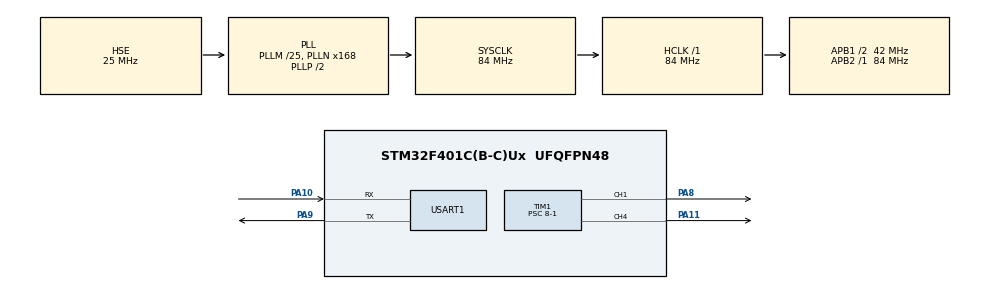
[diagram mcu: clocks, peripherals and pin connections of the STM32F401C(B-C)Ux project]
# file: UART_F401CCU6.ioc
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Mcu.Family=STM32F4
Mcu.Name=STM32F401C(B-C)Ux
Mcu.Package=UFQFPN48
NVIC.PriorityGroup=NVIC_PRIORITYGROUP_4
PA10.Mode=Asynchronous
PA10.Signal=USART1_RX
PA11.Signal=S_TIM1_CH4
PA13.Mode=Serial_Wire
PA13.Signal=SYS_JTMS-SWDIO
PA14.Mode=Serial_Wire
PA14.Signal=SYS_JTCK-SWCLK
PA8.Signal=S_TIM1_CH1
PA9.Mode=Asynchronous
PA9.Signal=USART1_TX
PH0\ -\ OSC_IN.Mode=HSE-External-Oscillator
PH0\ -\ OSC_IN.Signal=RCC_OSC_IN
PH1\ -\ OSC_OUT.Mode=HSE-External-Oscillator
PH1\ -\ OSC_OUT.Signal=RCC_OSC_OUT
ProjectManager.HeapSize=0x200
ProjectManager.StackSize=0x400
ProjectManager.TargetToolchain=MDK-ARM V5.32
RCC.48MHZClocksFreq_Value=42000000
RCC.AHBFreq_Value=84000000
RCC.APB1CLKDivider=RCC_HCLK_DIV2
RCC.APB1Freq_Value=42000000
RCC.APB1TimFreq_Value=84000000
RCC.APB2Freq_Value=84000000
RCC.APB2TimFreq_Value=84000000
RCC.CortexFreq_Value=84000000
RCC.HCLKFreq_Value=84000000
RCC.HSE_VALUE=25000000
RCC.HSI_VALUE=16000000
RCC.LSE_VALUE=32768
RCC.PLLM=25
RCC.PLLN=168
RCC.PLLSourceVirtual=RCC_PLLSOURCE_HSE
RCC.SYSCLKFreq_VALUE=84000000
RCC.SYSCLKSource=RCC_SYSCLKSOURCE_PLLCLK
RCC.VCOOutputFreq_Value=168000000
SH.S_TIM1_CH1.0=TIM1_CH1,PWM Generation1 CH1
SH.S_TIM1_CH4.0=TIM1_CH4,PWM Generation4 CH4
TIM1.Channel-PWM\ Generation1\ CH1=TIM_CHANNEL_1
TIM1.Channel-PWM\ Generation4\ CH4=TIM_CHANNEL_4
TIM1.Period=1000-1
TIM1.Prescaler=8-1
USART1.VirtualMode=VM_ASYNC
VP_TIM1_VS_ClockSourceINT.Mode=Internal
board=custom

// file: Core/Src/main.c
/* USER CODE BEGIN Header */
/**
  ******************************************************************************
  * @file           : main.c
  * @brief          : Main program body
  ******************************************************************************
  * @attention
  *
  * Copyright (c) 2024 STMicroelectronics.
  * All rights reserved.
  *
  * This software is licensed under terms that can be found in the LICENSE file
  * in the root directory of this software component.
  * If no LICENSE file comes with this software, it is provided AS-IS.
  *
  ******************************************************************************
  */
/* USER CODE END Header */
#include "main.h"

/* USER CODE BEGIN Includes */

uint8_t data[8];
uint16_t adc = 0;
uint16_t pwm = 0;

volatile uint8_t value[3];

/* USER CODE END Includes */

/* USER CODE BEGIN PD */
#define DEVISION 4.096
/* USER CODE END PD */

TIM_HandleTypeDef htim1;

UART_HandleTypeDef huart1;

void SystemClock_Config(void);
static void MX_GPIO_Init(void);
static void MX_TIM1_Init(void);
static void MX_USART1_UART_Init(void);

int main(void)
{

  /* MCU Configuration--------------------------------------------------------*/

  /* Reset of all peripherals, Initializes the Flash interface and the Systick. */
  HAL_Init();

  /* Configure the system clock */
  SystemClock_Config();

  /* Initialize all configured peripherals */
  MX_GPIO_Init();
  MX_TIM1_Init();
  MX_USART1_UART_Init();
  /* USER CODE BEGIN 2 */

	HAL_TIM_PWM_Start(&htim1, TIM_CHANNEL_1);
	HAL_TIM_PWM_Start(&htim1, TIM_CHANNEL_4);

	//HAL_UART_Receive_DMA(&huart1, (uint8_t*)value, 3);

  /* USER CODE END 2 */

  /* Infinite loop */
  /* USER CODE BEGIN WHILE */
  while (1)
  {

		HAL_UART_Receive( &huart1, data, 2, 100 );
		if(data[0] == 1)
		{
			adc = ((uint16_t)data[1] << 8) | ((uint8_t)data[2]);
			pwm = adc / DEVISION;
			TIM1->CCR1 = pwm;
			data[0] = 0;
		}
		if(data[0] == 2)
		{
			adc = ((uint16_t)data[1] << 8) | ((uint8_t)data[2]);
			pwm = adc / DEVISION;
			TIM1->CCR4 = pwm;
			data[0] = 0;
		}

    /* USER CODE END WHILE */

  }
}

void SystemClock_Config(void)
{
  RCC_OscInitTypeDef RCC_OscInitStruct = {0};
  RCC_ClkInitTypeDef RCC_ClkInitStruct = {0};

  /** Configure the main internal regulator output voltage
  */
  __HAL_RCC_PWR_CLK_ENABLE();
  __HAL_PWR_VOLTAGESCALING_CONFIG(PWR_REGULATOR_VOLTAGE_SCALE2);

  /** Initializes the RCC Oscillators according to the specified parameters
  * in the RCC_OscInitTypeDef structure.
  */
  RCC_OscInitStruct.OscillatorType = RCC_OSCILLATORTYPE_HSE;
  RCC_OscInitStruct.HSEState = RCC_HSE_ON;
  RCC_OscInitStruct.PLL.PLLState = RCC_PLL_ON;
  RCC_OscInitStruct.PLL.PLLSource = RCC_PLLSOURCE_HSE;
  RCC_OscInitStruct.PLL.PLLM = 25;
  RCC_OscInitStruct.PLL.PLLN = 168;
  RCC_OscInitStruct.PLL.PLLP = RCC_PLLP_DIV2;
  RCC_OscInitStruct.PLL.PLLQ = 4;
  if (HAL_RCC_OscConfig(&RCC_OscInitStruct) != HAL_OK)
  {
    Error_Handler();
  }

  /** Initializes the CPU, AHB and APB buses clocks
  */
  RCC_ClkInitStruct.ClockType = RCC_CLOCKTYPE_HCLK|RCC_CLOCKTYPE_SYSCLK
                              |RCC_CLOCKTYPE_PCLK1|RCC_CLOCKTYPE_PCLK2;
  RCC_ClkInitStruct.SYSCLKSource = RCC_SYSCLKSOURCE_PLLCLK;
  RCC_ClkInitStruct.AHBCLKDivider = RCC_SYSCLK_DIV1;
  RCC_ClkInitStruct.APB1CLKDivider = RCC_HCLK_DIV2;
  RCC_ClkInitStruct.APB2CLKDivider = RCC_HCLK_DIV1;

  if (HAL_RCC_ClockConfig(&RCC_ClkInitStruct, FLASH_LATENCY_2) != HAL_OK)
  {
    Error_Handler();
  }
}

static void MX_TIM1_Init(void)
{

  TIM_ClockConfigTypeDef sClockSourceConfig = {0};
  TIM_MasterConfigTypeDef sMasterConfig = {0};
  TIM_OC_InitTypeDef sConfigOC = {0};
  TIM_BreakDeadTimeConfigTypeDef sBreakDeadTimeConfig = {0};

  htim1.Instance = TIM1;
  htim1.Init.Prescaler = 8-1;
  htim1.Init.CounterMode = TIM_COUNTERMODE_UP;
  htim1.Init.Period = 1000-1;
  htim1.Init.ClockDivision = TIM_CLOCKDIVISION_DIV1;
  htim1.Init.RepetitionCounter = 0;
  htim1.Init.AutoReloadPreload = TIM_AUTORELOAD_PRELOAD_DISABLE;
  if (HAL_TIM_Base_Init(&htim1) != HAL_OK)
  {
    Error_Handler();
  }
  sClockSourceConfig.ClockSource = TIM_CLOCKSOURCE_INTERNAL;
  if (HAL_TIM_ConfigClockSource(&htim1, &sClockSourceConfig) != HAL_OK)
  {
    Error_Handler();
  }
  if (HAL_TIM_PWM_Init(&htim1) != HAL_OK)
  {
    Error_Handler();
  }
  sMasterConfig.MasterOutputTrigger = TIM_TRGO_RESET;
  sMasterConfig.MasterSlaveMode = TIM_MASTERSLAVEMODE_DISABLE;
  if (HAL_TIMEx_MasterConfigSynchronization(&htim1, &sMasterConfig) != HAL_OK)
  {
    Error_Handler();
  }
  sConfigOC.OCMode = TIM_OCMODE_PWM1;
  sConfigOC.Pulse = 0;
  sConfigOC.OCPolarity = TIM_OCPOLARITY_HIGH;
  sConfigOC.OCNPolarity = TIM_OCNPOLARITY_HIGH;
  sConfigOC.OCFastMode = TIM_OCFAST_DISABLE;
  sConfigOC.OCIdleState = TIM_OCIDLESTATE_RESET;
  sConfigOC.OCNIdleState = TIM_OCNIDLESTATE_RESET;
  if (HAL_TIM_PWM_ConfigChannel(&htim1, &sConfigOC, TIM_CHANNEL_1) != HAL_OK)
  {
    Error_Handler();
  }
  if (HAL_TIM_PWM_ConfigChannel(&htim1, &sConfigOC, TIM_CHANNEL_4) != HAL_OK)
  {
    Error_Handler();
  }
  sBreakDeadTimeConfig.OffStateRunMode = TIM_OSSR_DISABLE;
  sBreakDeadTimeConfig.OffStateIDLEMode = TIM_OSSI_DISABLE;
  sBreakDeadTimeConfig.LockLevel = TIM_LOCKLEVEL_OFF;
  sBreakDeadTimeConfig.DeadTime = 0;
  sBreakDeadTimeConfig.BreakState = TIM_BREAK_DISABLE;
  sBreakDeadTimeConfig.BreakPolarity = TIM_BREAKPOLARITY_HIGH;
  sBreakDeadTimeConfig.AutomaticOutput = TIM_AUTOMATICOUTPUT_DISABLE;
  if (HAL_TIMEx_ConfigBreakDeadTime(&htim1, &sBreakDeadTimeConfig) != HAL_OK)
  {
    Error_Handler();
  }
  HAL_TIM_MspPostInit(&htim1);

}

static void MX_USART1_UART_Init(void)
{

  huart1.Instance = USART1;
  huart1.Init.BaudRate = 115200;
  huart1.Init.WordLength = UART_WORDLENGTH_8B;
  huart1.Init.StopBits = UART_STOPBITS_1;
  huart1.Init.Parity = UART_PARITY_NONE;
  huart1.Init.Mode = UART_MODE_TX_RX;
  huart1.Init.HwFlowCtl = UART_HWCONTROL_NONE;
  huart1.Init.OverSampling = UART_OVERSAMPLING_16;
  if (HAL_UART_Init(&huart1) != HAL_OK)
  {
    Error_Handler();
  }

}

static void MX_GPIO_Init(void)
{

  /* GPIO Ports Clock Enable */
  __HAL_RCC_GPIOH_CLK_ENABLE();
  __HAL_RCC_GPIOA_CLK_ENABLE();

}

void Error_Handler(void)
{
  __disable_irq();
  while (1)
  {
  }
}
